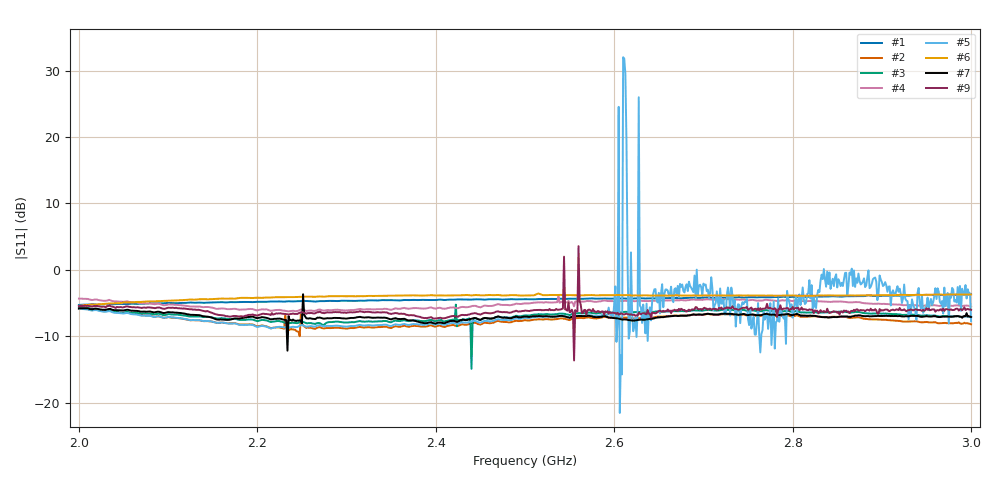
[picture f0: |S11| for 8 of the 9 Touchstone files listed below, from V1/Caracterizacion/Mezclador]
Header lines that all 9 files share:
!Agilent Technologies,E8364A,US41440144,A.06.04.32
!Agilent E8364A: A.06.04.32
# Hz S  dB  R 50
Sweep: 2 GHz to 3 GHz
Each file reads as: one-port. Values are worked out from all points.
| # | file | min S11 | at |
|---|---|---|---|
| 1 | 1.10.s1p | -5.3 dB | 2 GHz |
| 2 | 1.11.s1p | -10.0 dB | 2.248 GHz |
| 3 | 1.12.s1p | -14.9 dB | 2.44 GHz |
| 4 | 1.13.s1p | -6.3 dB | 2.235 GHz |
| 5 | 1.14.s1p | -21.6 dB | 2.606 GHz |
| 6 | 2.10.s1p | -5.4 dB | 2 GHz |
| 7 | 2.11.s1p | -12.2 dB | 2.234 GHz |
| 8 | 2.12.s1p | -6.6 dB | 2.48 GHz |
| 9 | 2.13.s1p | -13.7 dB | 2.555 GHz |
